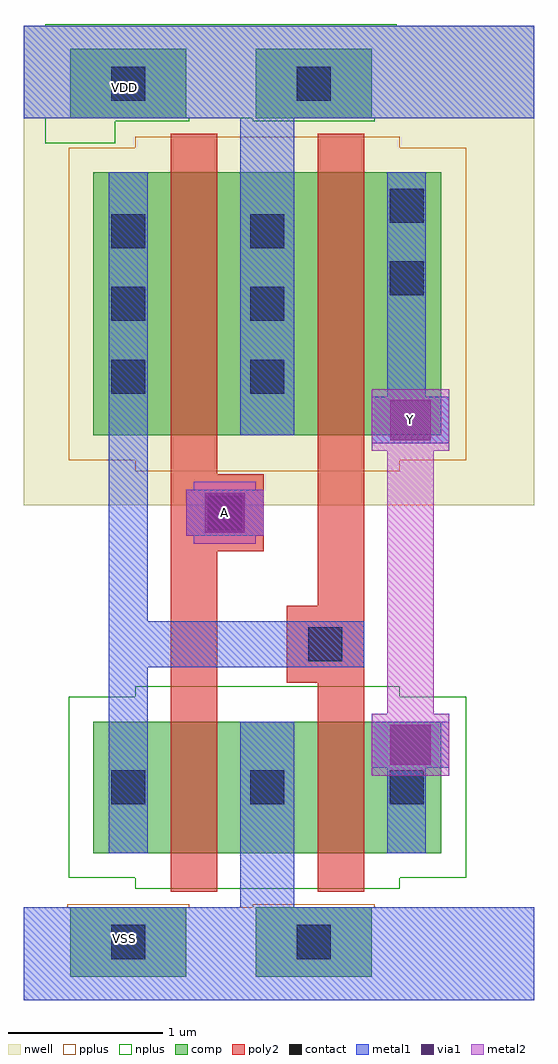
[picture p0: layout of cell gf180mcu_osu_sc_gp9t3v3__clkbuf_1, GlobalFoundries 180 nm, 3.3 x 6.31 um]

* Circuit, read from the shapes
.subckt gf180mcu_osu_sc_gp9t3v3__clkbuf_1 A VDD VSS Y
XM1 VSS A n1 VSS nfet_03v3 w=0.85u l=0.3u
XM2 Y n1 VSS VSS nfet_03v3 w=0.85u l=0.3u
XM3 VDD A n1 VDD pfet_03v3 w=1.7u l=0.3u
XM4 Y n1 VDD VDD pfet_03v3 w=1.7u l=0.3u
.ends

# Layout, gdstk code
import gdstk
lib = gdstk.Library(unit=1e-6, precision=1e-09)
def R(c, l, rs):  # rectangles x0, y0, x1, y1
    for r in rs: c.add(gdstk.rectangle(r[:2], r[2:], *l))
def A(c, l, x, y, w, h, nx, ny, dx, dy):  # array of equal rectangles
    R(c, l, [(x+i*dx, y+j*dy, x+i*dx+w, y+j*dy+h) for i in range(nx) for j in range(ny)])
nwell = (21, 0)
comp = (22, 0)
poly2 = (30, 0)
pplus = (31, 0)
nplus = (32, 0)
contact = (33, 0)
metal1 = (34, 0)
via1 = (35, 0)
metal2 = (36, 0)

gf180mcu_osu_sc_gp9t3v3_ = lib.new_cell('gf180mcu_osu_sc_gp9t3v3__clkbuf_1')
R(gf180mcu_osu_sc_gp9t3v3_, nwell, [(0,3.2,3.3,6.3)])
R(gf180mcu_osu_sc_gp9t3v3_, comp, [(0.3,0.15,1.05,0.6), (1.5,0.15,2.25,0.6), (0.45,0.95,2.7,1.8), (0.45,3.65,2.7,5.35), (0.3,5.7,1.05,6.15), (1.5,5.7,2.25,6.15)])
R(gf180mcu_osu_sc_gp9t3v3_, poly2, [(0.95,0.7,1.25,2.9), (1.9,0.7,2.2,2.05), (1.7,2.05,2.2,2.55), (1.9,2.55,2.2,5.6), (0.95,2.9,1.55,3.4), (0.95,3.4,1.25,5.6)])
R(gf180mcu_osu_sc_gp9t3v3_, pplus, [(0,0,3.3,0.6), (0.28,0.13,1.07,0.62), (1.48,0.13,2.27,0.62), (0.72,3.42,2.43,3.49), (0.29,3.49,2.86,5.51), (0.72,5.51,2.43,5.58)])
R(gf180mcu_osu_sc_gp9t3v3_, nplus, [(0.72,0.72,2.43,0.79), (0.29,0.79,2.86,1.96), (0.72,1.96,2.43,2.03), (0.14,5.54,0.59,5.68), (0.14,5.68,1.07,5.7), (1.48,5.68,2.27,5.7), (0,5.7,3.3,6.3), (0,5.7,3.3,6.3), (0.14,6.3,2.41,6.31)])
A(gf180mcu_osu_sc_gp9t3v3_, contact, 0.565, 1.265, 0.22, 0.22, 3, 1, 0.9, 0)
A(gf180mcu_osu_sc_gp9t3v3_, contact, 0.565, 3.92, 0.22, 0.22, 1, 3, 0, 0.47)
A(gf180mcu_osu_sc_gp9t3v3_, contact, 1.465, 3.92, 0.22, 0.22, 1, 3, 0, 0.47)
R(gf180mcu_osu_sc_gp9t3v3_, contact, [(0.565,0.265,0.785,0.485), (1.765,0.265,1.985,0.485), (1.84,2.19,2.06,2.41), (1.19,3.04,1.41,3.26), (2.365,4.555,2.585,4.775), (2.365,5.025,2.585,5.245), (0.565,5.815,0.785,6.035), (1.765,5.815,1.985,6.035)])
R(gf180mcu_osu_sc_gp9t3v3_, metal1, [(0,0,3.3,0.6), (1.4,0.6,1.75,1.8), (0.55,0.95,0.8,2.15), (2.35,0.95,2.6,1.5), (2.25,1.5,2.75,1.8), (0.55,2.15,2.2,2.45), (0.55,2.45,0.8,5.35), (1.05,3,1.55,3.3), (2.25,3.6,2.75,3.9), (1.4,3.65,1.75,5.7), (2.35,3.9,2.6,5.35), (0,5.7,3.3,6.3)])
R(gf180mcu_osu_sc_gp9t3v3_, via1, [(2.37,1.52,2.63,1.78), (1.17,3.02,1.43,3.28), (2.37,3.62,2.63,3.88)])
R(gf180mcu_osu_sc_gp9t3v3_, metal2, [(2.25,1.45,2.75,1.85), (2.35,1.85,2.65,3.55), (1.1,2.95,1.5,3), (1.05,3,1.55,3.3), (1.1,3.3,1.5,3.35), (2.25,3.55,2.75,3.95)])
gf180mcu_osu_sc_gp9t3v3_.add(gdstk.Label('A', (1.3,3.15), layer=36, texttype=10))
gf180mcu_osu_sc_gp9t3v3_.add(gdstk.Label('Y', (2.5,3.75), layer=36, texttype=10))
gf180mcu_osu_sc_gp9t3v3_.add(gdstk.Label('VDD', (0.65,5.9), layer=22, texttype=0))
gf180mcu_osu_sc_gp9t3v3_.add(gdstk.Label('VSS', (0.65,0.4), layer=22, texttype=0))

lib.write_gds('gf180mcu_osu_sc_gp9t3v3__clkbuf_1.gds')
